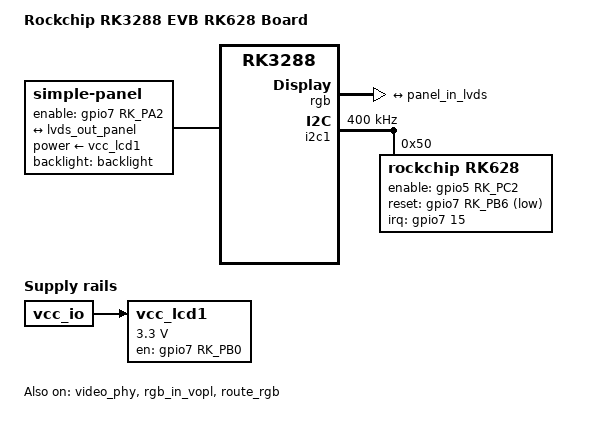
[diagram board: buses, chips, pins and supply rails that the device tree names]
// SPDX-License-Identifier: (GPL-2.0+ OR MIT)
// Copyright (c) 2020 Fuzhou Rockchip Electronics Co., Ltd

/dts-v1/;
#include "rk3288-evb-rk628.dtsi"

/ {
	model = "Rockchip RK3288 EVB RK628 Board";
	compatible = "rockchip,rk3288-evb-rk628", "rockchip,rk3288";

	chosen {
		bootargs = "rootwait earlycon=uart8250,mmio32,0xff690000 vmalloc=496M swiotlb=1 console=ttyFIQ0 androidboot.baseband=N/A androidboot.veritymode=enforcing androidboot.hardware=rk30board androidboot.console=ttyFIQ0 init=/init kpti=0";
	};
	vcc_lcd1: vcc-lcd1 {
		compatible = "regulator-fixed";
		regulator-name = "vcc_lcd1";
		regulator-min-microvolt = <3300000>;
		regulator-max-microvolt = <3300000>;
		regulator-boot-on;
		gpio = <&gpio7 RK_PB0 GPIO_ACTIVE_HIGH>;
		enable-active-high;
		vin-supply = <&vcc_io>;
	};

	panel {
		compatible = "simple-panel";
		backlight = <&backlight>;
		power-supply = <&vcc_lcd1>;
		enable-gpios = <&gpio7 RK_PA2 GPIO_ACTIVE_HIGH>;
		prepare-delay-ms = <120>;
		enable-delay-ms = <120>;
		disable-delay-ms = <120>;
		unprepare-delay-ms = <20>;
		status = "okay";

		display-timings {
			native-mode = <&timing0>;

			timing0: timing0 {
				clock-frequency = <68000000>;
				hactive = <800>;
				vactive = <1280>;
				hback-porch = <30>;
				hfront-porch = <30>;
				vback-porch = <3>;
				vfront-porch = <3>;
				hsync-len = <4>;
				vsync-len = <2>;
				hsync-active = <0>;
				vsync-active = <0>;
				de-active = <0>;
				pixelclk-active = <0>;
			};
		};

		port {
			panel_in_lvds: endpoint {
				remote-endpoint = <&lvds_out_panel>;
			};
		};
	};

};

&firmware_android {
	compatible = "android,firmware";
	boot_devices = "ff0f0000.dwmmc";

	vbmeta {
		compatible = "android,vbmeta";
		parts = "vbmeta,boot,system,vendor,dtbo";
	};

	fstab {
		compatible = "android,fstab";

		vendor {
			compatible = "android,vendor";
			dev = "/dev/block/by-name/vendor";
			type = "ext4";
			mnt_flags = "ro,barrier=1,inode_readahead_blks=8";
			fsmgr_flags = "wait,avb";
		};
	};
};

&rgb {
	status = "okay";

	ports {
		port@1 {
			reg = <1>;

			lvds_out_panel: endpoint {
				remote-endpoint = <&panel_in_lvds>;
			};
		};
	};
};

&i2c1 {
	clock-frequency = <400000>;
	status = "okay";

	rk628: rk628@50 {
		compatible = "rockchip,rk628";
		reg = <0x50>;
		interrupt-parent = <&gpio7>;
		interrupts = <15 IRQ_TYPE_LEVEL_HIGH>;
		enable-gpios = <&gpio5 RK_PC2 GPIO_ACTIVE_HIGH>;
		reset-gpios = <&gpio7 RK_PB6 GPIO_ACTIVE_LOW>;
		//panel-enable-gpios = <&gpio7 RK_PA2 GPIO_ACTIVE_HIGH>;
		status = "okay";

		rk628,rgb-in;
		rk628-lvds {
			/* "jeida_18","vesa_24","vesa_18" */
			bus-format = "jeida_24";

			/* "dual_link_odd_even_pixels"
			 * "dual_link_even_odd_pixels"
			 * "dual_link_left_right_pixels"
			 * "dual_link_right_left_pixels"
			 */
			link-type = "single_link";
			status = "okay";
		};

		display-timings {
			src-timing {
				clock-frequency = <68000000>;
				hactive = <800>;
				vactive = <1280>;
				hback-porch = <30>;
				hfront-porch = <30>;
				vback-porch = <3>;
				vfront-porch = <3>;
				hsync-len = <4>;
				vsync-len = <2>;
				hsync-active = <0>;
				vsync-active = <0>;
				de-active = <0>;
				pixelclk-active = <0>;
			};

			dst-timing {
				clock-frequency = <68000000>;
				hactive = <800>;
				vactive = <1280>;
				hback-porch = <30>;
				hfront-porch = <30>;
				vback-porch = <3>;
				vfront-porch = <3>;
				hsync-len = <4>;
				vsync-len = <2>;
				hsync-active = <0>;
				vsync-active = <0>;
				de-active = <0>;
				pixelclk-active = <0>;
			};
		};
	};
};

&video_phy {
	status = "okay";
};

&rgb_in_vopb {
	status = "disabled";
};

&rgb_in_vopl {
	status = "okay";
};

&route_rgb {
	connect = <&vopl_out_rgb>;
	status = "okay";
};
